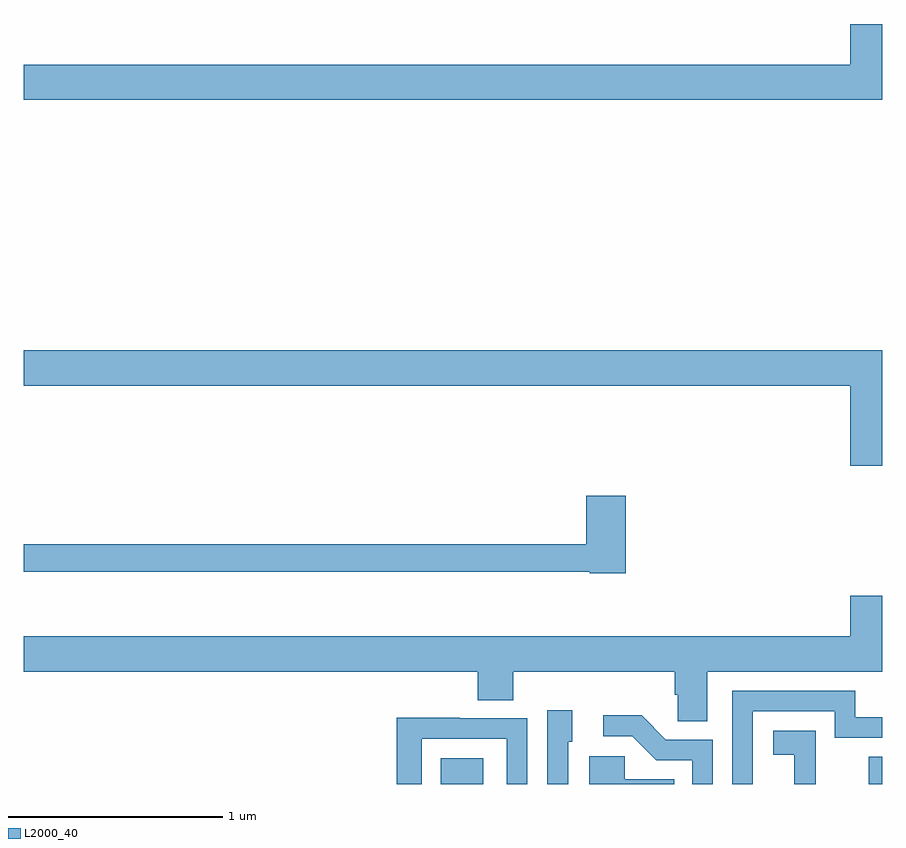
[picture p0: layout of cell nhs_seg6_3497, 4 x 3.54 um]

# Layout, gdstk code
import gdstk
lib = gdstk.Library(unit=1e-6, precision=1e-09)
def R(c, l, rs):  # rectangles x0, y0, x1, y1
    for r in rs: c.add(gdstk.rectangle(r[:2], r[2:], *l))
def P(c, l, *ps):  # polygons
    for p in ps: c.add(gdstk.Polygon(p, *l))
L2000_40 = (2000, 40)

nhs_seg6_3497 = lib.new_cell('nhs_seg6_3497')
R(nhs_seg6_3497, L2000_40, [(318.944,925.5,319.141,925.621), (320.938,925.5,321,925.626)])
P(nhs_seg6_3497, L2000_40, [(321,929.041),(320.852,929.041),(320.852,928.852),(317,928.852),(317,928.688),(321,928.688)],
  [(321,927.52),(317,927.52),(317,927.356),(320.852,927.356),(320.852,926.982),(321,926.982)],
  [(319.805,926.842),(319.622,926.842),(319.622,926.618),(317,926.618),(317,926.49),(319.638,926.49),(319.638,926.482),(319.805,926.482)],
  [(320.185,926.024),(321,926.024),(321,926.377),(320.852,926.377),(320.852,926.188),(317,926.188),(317,926.024),(319.115,926.024),(319.115,925.891),(319.28,925.891),(319.28,926.024),(320.033,926.024),(320.033,925.915),(320.046,925.915),(320.046,925.792),(320.185,925.792)],
  [(320.397,925.839),(320.778,925.839),(320.778,925.716),(321,925.716),(321,925.812),(320.875,925.812),(320.875,925.935),(320.301,925.935),(320.301,925.5),(320.397,925.5)],
  [(319.536,925.698),(319.555,925.698),(319.555,925.843),(319.44,925.843),(319.44,925.5),(319.536,925.5)],
  [(320.211,925.707),(319.992,925.707),(319.879,925.82),(319.701,925.82),(319.701,925.722),(319.835,925.722),(319.946,925.611),(320.115,925.611),(320.115,925.5),(320.211,925.5)],
  [(318.855,925.71),(319.251,925.71),(319.251,925.5),(319.347,925.5),(319.347,925.806),(319.031,925.806),(319.031,925.808),(318.739,925.808),(318.739,925.5),(318.855,925.5)],
  [(320.69,925.541),(320.691,925.541),(320.691,925.747),(320.493,925.747),(320.493,925.637),(320.591,925.637),(320.591,925.5),(320.69,925.5)],
  [(320.03,925.522),(319.8,925.522),(319.8,925.63),(319.634,925.63),(319.634,925.5),(320.03,925.5)])

lib.write_gds('nhs_seg6_3497.gds')
